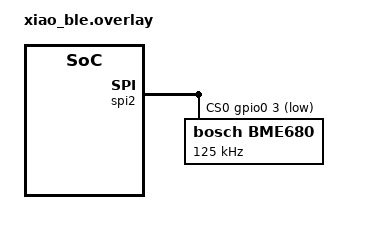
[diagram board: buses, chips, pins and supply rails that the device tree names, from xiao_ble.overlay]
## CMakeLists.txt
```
cmake_minimum_required(VERSION 3.20.0)
find_package(Zephyr REQUIRED HINTS $ENV{ZEPHYR_BASE})

project(i2c)

target_sources(app PRIVATE src/main.c)
add_subdirectory_ifdef(CONFIG_BME680 src/driver/bme680.c)
add_subdirectory_ifdef(CONFIG_BME680 src/driver/bme680_spi.c)
add_subdirectory_ifdef(CONFIG_680 src/driver/bme680.h)
```

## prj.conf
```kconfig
CONFIG_I2C=y
CONFIG_SPI=y
CONFIG_SENSOR=y
# CONFIG_BME680 =y
# DT_HAS_BOSCH_BME680_ENABLED =y
CONFIG_LOG=y
```

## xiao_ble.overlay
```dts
// To get started, press Ctrl+Space to bring up the completion menu and view the available nodes.

// You can also use the buttons in the sidebar to perform actions on nodes.
// Actions currently available include:

// * Enabling / disabling the node
// * Adding the bus to a bus
// * Removing the node
// * Connecting ADC channels

// For more help, browse the DeviceTree documentation at https: //docs.zephyrproject.org/latest/guides/dts/index.html
// You can also visit the nRF DeviceTree extension documentation at https: //nrfconnect.github.io/vscode-nrf-connect/devicetree/nrfdevicetree.html
&spi2 {
    compatible = "nordic,nrf-spi"; //using SPI as per ERRATA 58
    status = "okay";
    pinctrl-0 = <&spi2_default>;
    pinctrl-1 = <&spi2_sleep>;
    pinctrl-names = "default", "sleep";
    cs-gpios = <&gpio0 3 GPIO_ACTIVE_LOW>;
    bme680: bme68@0 {
        compatible = "bosch,bme680";
        reg = <0>;
        spi-max-frequency = <125000>;
    };
};
```

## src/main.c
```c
#include <zephyr/device.h>
#include <zephyr/devicetree.h>
#include <zephyr/drivers/gpio.h>
#include <zephyr/drivers/spi.h>
#ifdef CONFIG_BME680
#endif
#include "driver/bme680.h"

#define SPIOP	SPI_WORD_SET(8) | SPI_TRANSFER_MSB
struct spi_dt_spec spispec = SPI_DT_SPEC_GET(DT_NODELABEL(bme680), SPIOP, 0);
int main()
{
        
}   
```
